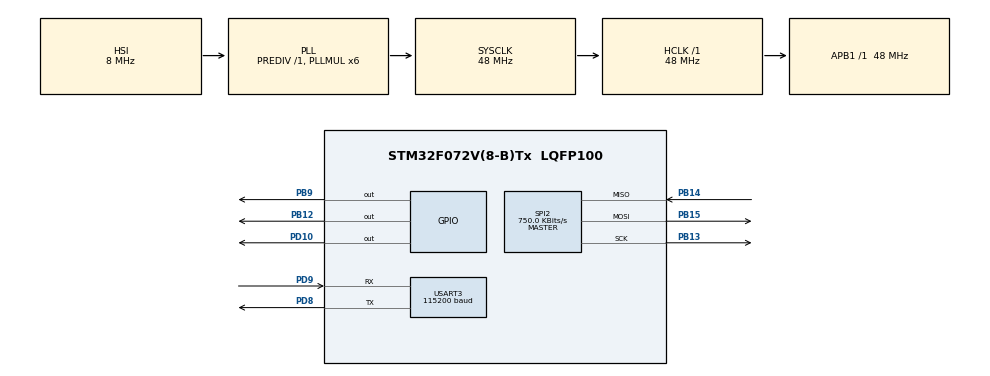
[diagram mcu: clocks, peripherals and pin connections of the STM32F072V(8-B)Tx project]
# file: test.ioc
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Mcu.Family=STM32F0
Mcu.Name=STM32F072V(8-B)Tx
Mcu.Package=LQFP100
PB12.Signal=GPIO_Output
PB13.Mode=Full_Duplex_Master
PB13.Signal=SPI2_SCK
PB14.Mode=Full_Duplex_Master
PB14.Signal=SPI2_MISO
PB15.Mode=Full_Duplex_Master
PB15.Signal=SPI2_MOSI
PB9.Signal=GPIO_Output
PD10.Signal=GPIO_Output
PD8.Mode=Asynchronous
PD8.Signal=USART3_TX
PD9.Mode=Asynchronous
PD9.Signal=USART3_RX
ProjectManager.HeapSize=0x200
ProjectManager.StackSize=0x400
ProjectManager.TargetToolchain=STM32CubeIDE
RCC.AHBFreq_Value=48000000
RCC.APB1Freq_Value=48000000
RCC.APB1TimFreq_Value=48000000
RCC.HCLKFreq_Value=48000000
RCC.PLLMUL=RCC_PLL_MUL6
RCC.SYSCLKFreq_VALUE=48000000
RCC.SYSCLKSource=RCC_SYSCLKSOURCE_PLLCLK
SPI2.BaudRatePrescaler=SPI_BAUDRATEPRESCALER_64
SPI2.CLKPhase=SPI_PHASE_2EDGE
SPI2.CLKPolarity=SPI_POLARITY_HIGH
SPI2.CalculateBaudRate=750.0 KBits/s
SPI2.DataSize=SPI_DATASIZE_8BIT
SPI2.Direction=SPI_DIRECTION_2LINES
SPI2.Mode=SPI_MODE_MASTER
SPI2.VirtualType=VM_MASTER
USART3.BaudRate=115200
USART3.VirtualMode-Asynchronous=VM_ASYNC
board=custom

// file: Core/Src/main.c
/* USER CODE BEGIN Header */
/**
  ******************************************************************************
  * @file           : main.c
  * @brief          : Main program body
  ******************************************************************************
  * @attention
  *
  * <h2><center>&copy; Copyright (c) 2020 STMicroelectronics.
  * All rights reserved.</center></h2>
  *
  * This software component is licensed by ST under BSD 3-Clause license,
  * the "License"; You may not use this file except in compliance with the
  * License. You may obtain a copy of the License at:
  *                        opensource.org/licenses/BSD-3-Clause
  *
  ******************************************************************************
  */
/* USER CODE END Header */

#include "main.h"

/* USER CODE BEGIN Includes */
#include "stdio.h"
#include "pl7211.h"
/* USER CODE END Includes */

/* USER CODE BEGIN PD */

#ifdef __GNUC__
#define PUTCHAR_PROTOTYPE int __io_putchar(int ch)
#else
#define PUTCHAR_PROTOTYPE int fputc(int ch, FILE *f)
#endif

/* USER CODE END PD */

SPI_HandleTypeDef hspi2;

UART_HandleTypeDef huart3;

void SystemClock_Config(void);
static void MX_GPIO_Init(void);
static void MX_SPI2_Init(void);
static void MX_USART3_UART_Init(void);

/* USER CODE BEGIN 0 */

PUTCHAR_PROTOTYPE
{
    HAL_UART_Transmit(&huart3 , (uint8_t *)&ch, 1, 0xFFFF);
    return ch;
}

/* USER CODE END 0 */

int main(void)
{

  /* MCU Configuration--------------------------------------------------------*/

  /* Reset of all peripherals, Initializes the Flash interface and the Systick. */
  HAL_Init();

  /* Configure the system clock */
  SystemClock_Config();

  /* Initialize all configured peripherals */
  MX_GPIO_Init();
  MX_SPI2_Init();
  MX_USART3_UART_Init();
  /* USER CODE BEGIN 2 */

  printf("Hello World!!\r\n");
  HAL_GPIO_WritePin(GPIOB, GPIO_PIN_9, 1);
  pl7211_init();
  /* USER CODE END 2 */

  /* Infinite loop */
  while (1)
  {

    /* USER CODE BEGIN 3 */
	  printf("meter vrms %ld\r\n", pl7211_read_vrms());
	  printf("meter irms %ld\r\n", pl7211_read_irms());
	  printf("meter watt %ld\r\n", pl7211_read_power());
	  printf("meter whr %ld\r\n", pl7211_read_whr());
	  printf("meter freq %ld\r\n", pl7211_read_freq());
	  HAL_Delay(1000);
  }
  /* USER CODE END 3 */
}

void SystemClock_Config(void)
{
  RCC_OscInitTypeDef RCC_OscInitStruct = {0};
  RCC_ClkInitTypeDef RCC_ClkInitStruct = {0};

  /** Initializes the CPU, AHB and APB busses clocks
  */
  RCC_OscInitStruct.OscillatorType = RCC_OSCILLATORTYPE_HSI;
  RCC_OscInitStruct.HSIState = RCC_HSI_ON;
  RCC_OscInitStruct.HSICalibrationValue = RCC_HSICALIBRATION_DEFAULT;
  RCC_OscInitStruct.PLL.PLLState = RCC_PLL_ON;
  RCC_OscInitStruct.PLL.PLLSource = RCC_PLLSOURCE_HSI;
  RCC_OscInitStruct.PLL.PLLMUL = RCC_PLL_MUL6;
  RCC_OscInitStruct.PLL.PREDIV = RCC_PREDIV_DIV1;
  if (HAL_RCC_OscConfig(&RCC_OscInitStruct) != HAL_OK)
  {
    Error_Handler();
  }
  /** Initializes the CPU, AHB and APB busses clocks
  */
  RCC_ClkInitStruct.ClockType = RCC_CLOCKTYPE_HCLK|RCC_CLOCKTYPE_SYSCLK
                              |RCC_CLOCKTYPE_PCLK1;
  RCC_ClkInitStruct.SYSCLKSource = RCC_SYSCLKSOURCE_PLLCLK;
  RCC_ClkInitStruct.AHBCLKDivider = RCC_SYSCLK_DIV1;
  RCC_ClkInitStruct.APB1CLKDivider = RCC_HCLK_DIV1;

  if (HAL_RCC_ClockConfig(&RCC_ClkInitStruct, FLASH_LATENCY_1) != HAL_OK)
  {
    Error_Handler();
  }
}

static void MX_SPI2_Init(void)
{

  /* SPI2 parameter configuration*/
  hspi2.Instance = SPI2;
  hspi2.Init.Mode = SPI_MODE_MASTER;
  hspi2.Init.Direction = SPI_DIRECTION_2LINES;
  hspi2.Init.DataSize = SPI_DATASIZE_8BIT;
  hspi2.Init.CLKPolarity = SPI_POLARITY_HIGH;
  hspi2.Init.CLKPhase = SPI_PHASE_2EDGE;
  hspi2.Init.NSS = SPI_NSS_SOFT;
  hspi2.Init.BaudRatePrescaler = SPI_BAUDRATEPRESCALER_64;
  hspi2.Init.FirstBit = SPI_FIRSTBIT_MSB;
  hspi2.Init.TIMode = SPI_TIMODE_DISABLE;
  hspi2.Init.CRCCalculation = SPI_CRCCALCULATION_DISABLE;
  hspi2.Init.CRCPolynomial = 7;
  hspi2.Init.CRCLength = SPI_CRC_LENGTH_DATASIZE;
  hspi2.Init.NSSPMode = SPI_NSS_PULSE_DISABLE;
  if (HAL_SPI_Init(&hspi2) != HAL_OK)
  {
    Error_Handler();
  }

}

static void MX_USART3_UART_Init(void)
{

  huart3.Instance = USART3;
  huart3.Init.BaudRate = 115200;
  huart3.Init.WordLength = UART_WORDLENGTH_8B;
  huart3.Init.StopBits = UART_STOPBITS_1;
  huart3.Init.Parity = UART_PARITY_NONE;
  huart3.Init.Mode = UART_MODE_TX_RX;
  huart3.Init.HwFlowCtl = UART_HWCONTROL_NONE;
  huart3.Init.OverSampling = UART_OVERSAMPLING_16;
  huart3.Init.OneBitSampling = UART_ONE_BIT_SAMPLE_DISABLE;
  huart3.AdvancedInit.AdvFeatureInit = UART_ADVFEATURE_NO_INIT;
  if (HAL_UART_Init(&huart3) != HAL_OK)
  {
    Error_Handler();
  }

}

static void MX_GPIO_Init(void)
{
  GPIO_InitTypeDef GPIO_InitStruct = {0};

  /* GPIO Ports Clock Enable */
  __HAL_RCC_GPIOB_CLK_ENABLE();
  __HAL_RCC_GPIOD_CLK_ENABLE();

  /*Configure GPIO pin Output Level */
  HAL_GPIO_WritePin(GPIOB, GPIO_PIN_12|GPIO_PIN_9, GPIO_PIN_RESET);

  /*Configure GPIO pin Output Level */
  HAL_GPIO_WritePin(GPIOD, GPIO_PIN_10, GPIO_PIN_RESET);

  /*Configure GPIO pins : PB12 PB9 */
  GPIO_InitStruct.Pin = GPIO_PIN_12|GPIO_PIN_9;
  GPIO_InitStruct.Mode = GPIO_MODE_OUTPUT_PP;
  GPIO_InitStruct.Pull = GPIO_NOPULL;
  GPIO_InitStruct.Speed = GPIO_SPEED_FREQ_LOW;
  HAL_GPIO_Init(GPIOB, &GPIO_InitStruct);

  /*Configure GPIO pin : PD10 */
  GPIO_InitStruct.Pin = GPIO_PIN_10;
  GPIO_InitStruct.Mode = GPIO_MODE_OUTPUT_PP;
  GPIO_InitStruct.Pull = GPIO_NOPULL;
  GPIO_InitStruct.Speed = GPIO_SPEED_FREQ_LOW;
  HAL_GPIO_Init(GPIOD, &GPIO_InitStruct);

}

void Error_Handler(void)
{
}

/************************ (C) COPYRIGHT STMicroelectronics *****END OF FILE****/
